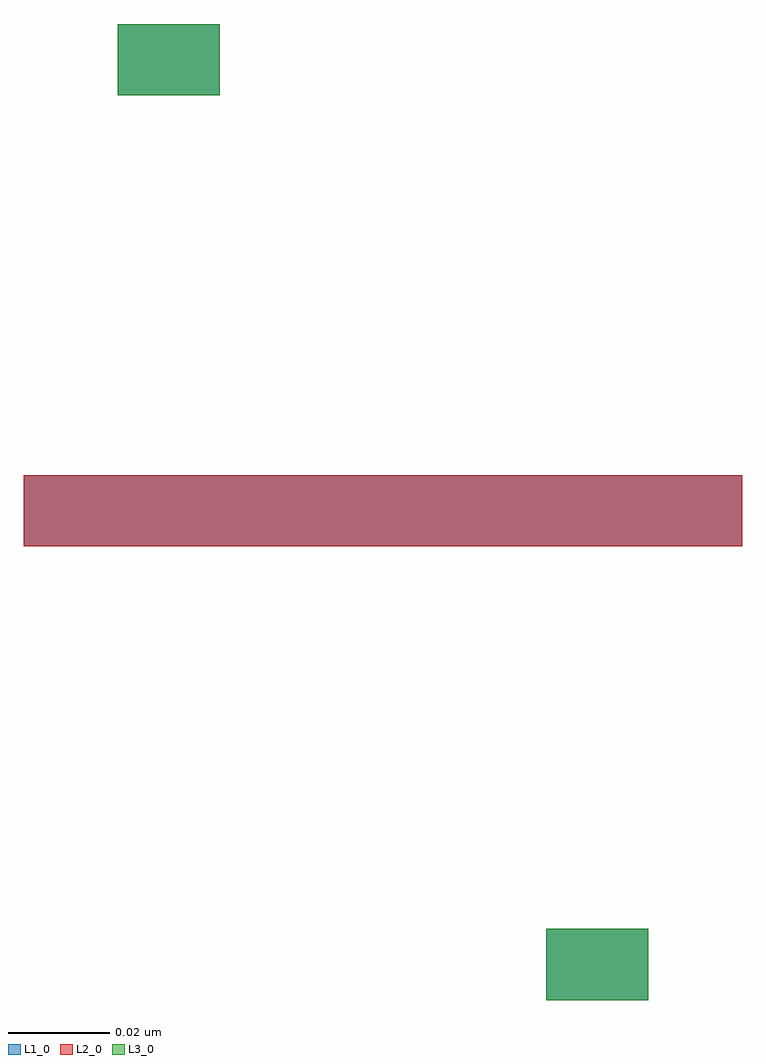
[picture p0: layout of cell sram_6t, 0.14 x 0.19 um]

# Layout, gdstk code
import gdstk
lib = gdstk.Library(unit=1e-6, precision=5e-10)
def R(c, l, rs):  # rectangles x0, y0, x1, y1
    for r in rs: c.add(gdstk.rectangle(r[:2], r[2:], *l))
L1_0 = (1, 0)
L2_0 = (2, 0)
L3_0 = (3, 0)

sram_6t = lib.new_cell('sram_6t')
R(sram_6t, L1_0, [(0.1025,0.0355,0.1225,0.0495), (0,0.1245,0.141,0.1385), (0.0185,0.213,0.0385,0.227)])
R(sram_6t, L2_0, [(0,0.1245,0.141,0.1385)])
R(sram_6t, L3_0, [(0.1025,0.0355,0.1225,0.0495), (0.0185,0.213,0.0385,0.227)])

lib.write_gds('sram_6t.gds')
